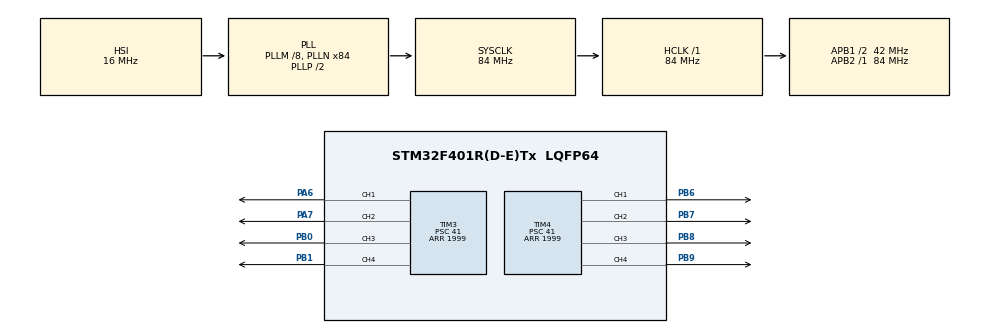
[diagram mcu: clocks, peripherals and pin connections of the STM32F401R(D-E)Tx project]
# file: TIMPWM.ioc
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Mcu.Family=STM32F4
Mcu.Name=STM32F401R(D-E)Tx
Mcu.Package=LQFP64
NVIC.PriorityGroup=NVIC_PRIORITYGROUP_4
PA6.Signal=S_TIM3_CH1
PA7.Signal=S_TIM3_CH2
PB0.Signal=S_TIM3_CH3
PB1.Signal=S_TIM3_CH4
PB6.Signal=S_TIM4_CH1
PB7.Signal=S_TIM4_CH2
PB8.Signal=S_TIM4_CH3
PB9.Signal=S_TIM4_CH4
ProjectManager.HeapSize=0x200
ProjectManager.StackSize=0x400
ProjectManager.TargetToolchain=STM32CubeIDE
RCC.48MHZClocksFreq_Value=42000000
RCC.AHBFreq_Value=84000000
RCC.APB1CLKDivider=RCC_HCLK_DIV2
RCC.APB1Freq_Value=42000000
RCC.APB1TimFreq_Value=84000000
RCC.APB2Freq_Value=84000000
RCC.APB2TimFreq_Value=84000000
RCC.CortexFreq_Value=84000000
RCC.HCLKFreq_Value=84000000
RCC.HSE_VALUE=25000000
RCC.HSI_VALUE=16000000
RCC.LSE_VALUE=32768
RCC.PLLM=8
RCC.PLLN=84
RCC.SYSCLKFreq_VALUE=84000000
RCC.SYSCLKSource=RCC_SYSCLKSOURCE_PLLCLK
RCC.VCOOutputFreq_Value=168000000
SH.S_TIM3_CH1.0=TIM3_CH1,PWM Generation1 CH1
SH.S_TIM3_CH2.0=TIM3_CH2,PWM Generation2 CH2
SH.S_TIM3_CH3.0=TIM3_CH3,PWM Generation3 CH3
SH.S_TIM3_CH4.0=TIM3_CH4,PWM Generation4 CH4
SH.S_TIM4_CH1.0=TIM4_CH1,PWM Generation1 CH1
SH.S_TIM4_CH2.0=TIM4_CH2,PWM Generation2 CH2
SH.S_TIM4_CH3.0=TIM4_CH3,PWM Generation3 CH3
SH.S_TIM4_CH4.0=TIM4_CH4,PWM Generation4 CH4
TIM3.AutoReloadPreload=TIM_AUTORELOAD_PRELOAD_ENABLE
TIM3.Channel-PWM\ Generation1\ CH1=TIM_CHANNEL_1
TIM3.Channel-PWM\ Generation2\ CH2=TIM_CHANNEL_2
TIM3.Channel-PWM\ Generation3\ CH3=TIM_CHANNEL_3
TIM3.Channel-PWM\ Generation4\ CH4=TIM_CHANNEL_4
TIM3.OCMode_PWM-PWM\ Generation1\ CH1=TIM_OCMODE_PWM2
TIM3.OCMode_PWM-PWM\ Generation2\ CH2=TIM_OCMODE_PWM2
TIM3.OCMode_PWM-PWM\ Generation3\ CH3=TIM_OCMODE_PWM2
TIM3.OCMode_PWM-PWM\ Generation4\ CH4=TIM_OCMODE_PWM2
TIM3.Period=1999
TIM3.Prescaler=41
TIM4.AutoReloadPreload=TIM_AUTORELOAD_PRELOAD_ENABLE
TIM4.Channel-PWM\ Generation1\ CH1=TIM_CHANNEL_1
TIM4.Channel-PWM\ Generation2\ CH2=TIM_CHANNEL_2
TIM4.Channel-PWM\ Generation3\ CH3=TIM_CHANNEL_3
TIM4.Channel-PWM\ Generation4\ CH4=TIM_CHANNEL_4
TIM4.OCMode_PWM-PWM\ Generation1\ CH1=TIM_OCMODE_PWM2
TIM4.OCMode_PWM-PWM\ Generation2\ CH2=TIM_OCMODE_PWM2
TIM4.OCMode_PWM-PWM\ Generation3\ CH3=TIM_OCMODE_PWM2
TIM4.OCMode_PWM-PWM\ Generation4\ CH4=TIM_OCMODE_PWM2
TIM4.Period=1999
TIM4.Prescaler=41
VP_TIM3_VS_ClockSourceINT.Mode=Internal
VP_TIM4_VS_ClockSourceINT.Mode=Internal
board=custom

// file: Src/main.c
/* USER CODE BEGIN Header */
/**
  ******************************************************************************
  * @file           : main.c
  * @brief          : Main program body
  ******************************************************************************
  * @attention
  *
  * <h2><center>&copy; Copyright (c) 2019 STMicroelectronics.
  * All rights reserved.</center></h2>
  *
  * This software component is licensed by ST under BSD 3-Clause license,
  * the "License"; You may not use this file except in compliance with the
  * License. You may obtain a copy of the License at:
  *                        opensource.org/licenses/BSD-3-Clause
  *
  ******************************************************************************
  */
/* USER CODE END Header */
#include "main.h"

/* USER CODE BEGIN Includes */
#include "arm_math.h"
/* USER CODE END Includes */

/* USER CODE BEGIN PM */
#define ArraySiz(a) (sizeof((a))/sizeof((a)[0]))
/* USER CODE END PM */

TIM_HandleTypeDef htim3;
TIM_HandleTypeDef htim4;

/* USER CODE BEGIN PV */
float32_t thetas[] =
	{0.0f, PI/4.0f, PI/2.0f, PI*3.0f/4.0f, PI,
	PI*5.0f/4.0f, PI*3.0f/2.0f, PI*7.0f/4.0f};
/* USER CODE END PV */

void SystemClock_Config(void);
static void MX_GPIO_Init(void);
static void MX_TIM3_Init(void);
static void MX_TIM4_Init(void);

int main(void)
{

  /* MCU Configuration--------------------------------------------------------*/

  /* Reset of all peripherals, Initializes the Flash interface and the Systick. */
  HAL_Init();

  /* Configure the system clock */
  SystemClock_Config();

  /* Initialize all configured peripherals */
  MX_GPIO_Init();
  MX_TIM3_Init();
  MX_TIM4_Init();
  /* USER CODE BEGIN 2 */
  HAL_TIM_PWM_Start(&htim3, TIM_CHANNEL_1);
  HAL_TIM_PWM_Start(&htim3, TIM_CHANNEL_2);
  HAL_TIM_PWM_Start(&htim3, TIM_CHANNEL_3);
  HAL_TIM_PWM_Start(&htim3, TIM_CHANNEL_4);
  HAL_TIM_PWM_Start(&htim4, TIM_CHANNEL_1);
  HAL_TIM_PWM_Start(&htim4, TIM_CHANNEL_2);
  HAL_TIM_PWM_Start(&htim4, TIM_CHANNEL_3);
  HAL_TIM_PWM_Start(&htim4, TIM_CHANNEL_4);
  /* USER CODE END 2 */

  /* Infinite loop */
  while (1)
  {

    /* USER CODE BEGIN 3 */
	int32_t cc;
	cc = (int32_t)((arm_sin_f32(thetas[0])+1.0f)/2.0f*1999.0f);
	__HAL_TIM_SET_COMPARE(&htim3, TIM_CHANNEL_1, cc);
	cc = (int32_t)((arm_sin_f32(thetas[1])+1.0f)/2.0f*1999.0f);
	__HAL_TIM_SET_COMPARE(&htim3, TIM_CHANNEL_2, cc);
	cc = (int32_t)((arm_sin_f32(thetas[2])+1.0f)/2.0f*1999.0f);
	__HAL_TIM_SET_COMPARE(&htim3, TIM_CHANNEL_3, cc);
	cc = (int32_t)((arm_sin_f32(thetas[3])+1.0f)/2.0f*1999.0f);
	__HAL_TIM_SET_COMPARE(&htim3, TIM_CHANNEL_4, cc);
	cc = (int32_t)((arm_sin_f32(thetas[4])+1.0f)/2.0f*1999.0f);
	__HAL_TIM_SET_COMPARE(&htim4, TIM_CHANNEL_1, cc);
	cc = (int32_t)((arm_sin_f32(thetas[5])+1.0f)/2.0f*1999.0f);
	__HAL_TIM_SET_COMPARE(&htim4, TIM_CHANNEL_2, cc);
	cc = (int32_t)((arm_sin_f32(thetas[6])+1.0f)/2.0f*1999.0f);
	__HAL_TIM_SET_COMPARE(&htim4, TIM_CHANNEL_3, cc);
	cc = (int32_t)((arm_sin_f32(thetas[7])+1.0f)/2.0f*1999.0f);
	__HAL_TIM_SET_COMPARE(&htim4, TIM_CHANNEL_4, cc);
	for (int32_t i = 0; i < ArraySiz(thetas); i++) {
		thetas[i] += 2.0f*PI*10.0f/1000.0f;
		thetas[i] = (thetas[i]>=2.0f*PI) ? thetas[i]-2.0f*PI : thetas[i];
	}
	HAL_Delay(10);
  }
  /* USER CODE END 3 */
}

void SystemClock_Config(void)
{
  RCC_OscInitTypeDef RCC_OscInitStruct = {0};
  RCC_ClkInitTypeDef RCC_ClkInitStruct = {0};

  /** Configure the main internal regulator output voltage
  */
  __HAL_RCC_PWR_CLK_ENABLE();
  __HAL_PWR_VOLTAGESCALING_CONFIG(PWR_REGULATOR_VOLTAGE_SCALE2);
  /** Initializes the RCC Oscillators according to the specified parameters
  * in the RCC_OscInitTypeDef structure.
  */
  RCC_OscInitStruct.OscillatorType = RCC_OSCILLATORTYPE_HSI;
  RCC_OscInitStruct.HSIState = RCC_HSI_ON;
  RCC_OscInitStruct.HSICalibrationValue = RCC_HSICALIBRATION_DEFAULT;
  RCC_OscInitStruct.PLL.PLLState = RCC_PLL_ON;
  RCC_OscInitStruct.PLL.PLLSource = RCC_PLLSOURCE_HSI;
  RCC_OscInitStruct.PLL.PLLM = 8;
  RCC_OscInitStruct.PLL.PLLN = 84;
  RCC_OscInitStruct.PLL.PLLP = RCC_PLLP_DIV2;
  RCC_OscInitStruct.PLL.PLLQ = 4;
  if (HAL_RCC_OscConfig(&RCC_OscInitStruct) != HAL_OK)
  {
    Error_Handler();
  }
  /** Initializes the CPU, AHB and APB buses clocks
  */
  RCC_ClkInitStruct.ClockType = RCC_CLOCKTYPE_HCLK|RCC_CLOCKTYPE_SYSCLK
                              |RCC_CLOCKTYPE_PCLK1|RCC_CLOCKTYPE_PCLK2;
  RCC_ClkInitStruct.SYSCLKSource = RCC_SYSCLKSOURCE_PLLCLK;
  RCC_ClkInitStruct.AHBCLKDivider = RCC_SYSCLK_DIV1;
  RCC_ClkInitStruct.APB1CLKDivider = RCC_HCLK_DIV2;
  RCC_ClkInitStruct.APB2CLKDivider = RCC_HCLK_DIV1;

  if (HAL_RCC_ClockConfig(&RCC_ClkInitStruct, FLASH_LATENCY_2) != HAL_OK)
  {
    Error_Handler();
  }
}

static void MX_TIM3_Init(void)
{

  TIM_ClockConfigTypeDef sClockSourceConfig = {0};
  TIM_MasterConfigTypeDef sMasterConfig = {0};
  TIM_OC_InitTypeDef sConfigOC = {0};

  htim3.Instance = TIM3;
  htim3.Init.Prescaler = 41;
  htim3.Init.CounterMode = TIM_COUNTERMODE_UP;
  htim3.Init.Period = 1999;
  htim3.Init.ClockDivision = TIM_CLOCKDIVISION_DIV1;
  htim3.Init.AutoReloadPreload = TIM_AUTORELOAD_PRELOAD_ENABLE;
  if (HAL_TIM_Base_Init(&htim3) != HAL_OK)
  {
    Error_Handler();
  }
  sClockSourceConfig.ClockSource = TIM_CLOCKSOURCE_INTERNAL;
  if (HAL_TIM_ConfigClockSource(&htim3, &sClockSourceConfig) != HAL_OK)
  {
    Error_Handler();
  }
  if (HAL_TIM_PWM_Init(&htim3) != HAL_OK)
  {
    Error_Handler();
  }
  sMasterConfig.MasterOutputTrigger = TIM_TRGO_RESET;
  sMasterConfig.MasterSlaveMode = TIM_MASTERSLAVEMODE_DISABLE;
  if (HAL_TIMEx_MasterConfigSynchronization(&htim3, &sMasterConfig) != HAL_OK)
  {
    Error_Handler();
  }
  sConfigOC.OCMode = TIM_OCMODE_PWM2;
  sConfigOC.Pulse = 0;
  sConfigOC.OCPolarity = TIM_OCPOLARITY_HIGH;
  sConfigOC.OCFastMode = TIM_OCFAST_DISABLE;
  if (HAL_TIM_PWM_ConfigChannel(&htim3, &sConfigOC, TIM_CHANNEL_1) != HAL_OK)
  {
    Error_Handler();
  }
  if (HAL_TIM_PWM_ConfigChannel(&htim3, &sConfigOC, TIM_CHANNEL_2) != HAL_OK)
  {
    Error_Handler();
  }
  if (HAL_TIM_PWM_ConfigChannel(&htim3, &sConfigOC, TIM_CHANNEL_3) != HAL_OK)
  {
    Error_Handler();
  }
  if (HAL_TIM_PWM_ConfigChannel(&htim3, &sConfigOC, TIM_CHANNEL_4) != HAL_OK)
  {
    Error_Handler();
  }
  HAL_TIM_MspPostInit(&htim3);

}

static void MX_TIM4_Init(void)
{

  TIM_ClockConfigTypeDef sClockSourceConfig = {0};
  TIM_MasterConfigTypeDef sMasterConfig = {0};
  TIM_OC_InitTypeDef sConfigOC = {0};

  htim4.Instance = TIM4;
  htim4.Init.Prescaler = 41;
  htim4.Init.CounterMode = TIM_COUNTERMODE_UP;
  htim4.Init.Period = 1999;
  htim4.Init.ClockDivision = TIM_CLOCKDIVISION_DIV1;
  htim4.Init.AutoReloadPreload = TIM_AUTORELOAD_PRELOAD_ENABLE;
  if (HAL_TIM_Base_Init(&htim4) != HAL_OK)
  {
    Error_Handler();
  }
  sClockSourceConfig.ClockSource = TIM_CLOCKSOURCE_INTERNAL;
  if (HAL_TIM_ConfigClockSource(&htim4, &sClockSourceConfig) != HAL_OK)
  {
    Error_Handler();
  }
  if (HAL_TIM_PWM_Init(&htim4) != HAL_OK)
  {
    Error_Handler();
  }
  sMasterConfig.MasterOutputTrigger = TIM_TRGO_RESET;
  sMasterConfig.MasterSlaveMode = TIM_MASTERSLAVEMODE_DISABLE;
  if (HAL_TIMEx_MasterConfigSynchronization(&htim4, &sMasterConfig) != HAL_OK)
  {
    Error_Handler();
  }
  sConfigOC.OCMode = TIM_OCMODE_PWM2;
  sConfigOC.Pulse = 0;
  sConfigOC.OCPolarity = TIM_OCPOLARITY_HIGH;
  sConfigOC.OCFastMode = TIM_OCFAST_DISABLE;
  if (HAL_TIM_PWM_ConfigChannel(&htim4, &sConfigOC, TIM_CHANNEL_1) != HAL_OK)
  {
    Error_Handler();
  }
  if (HAL_TIM_PWM_ConfigChannel(&htim4, &sConfigOC, TIM_CHANNEL_2) != HAL_OK)
  {
    Error_Handler();
  }
  if (HAL_TIM_PWM_ConfigChannel(&htim4, &sConfigOC, TIM_CHANNEL_3) != HAL_OK)
  {
    Error_Handler();
  }
  if (HAL_TIM_PWM_ConfigChannel(&htim4, &sConfigOC, TIM_CHANNEL_4) != HAL_OK)
  {
    Error_Handler();
  }
  HAL_TIM_MspPostInit(&htim4);

}

static void MX_GPIO_Init(void)
{

  /* GPIO Ports Clock Enable */
  __HAL_RCC_GPIOA_CLK_ENABLE();
  __HAL_RCC_GPIOB_CLK_ENABLE();

}

void Error_Handler(void)
{
}

/************************ (C) COPYRIGHT STMicroelectronics *****END OF FILE****/
